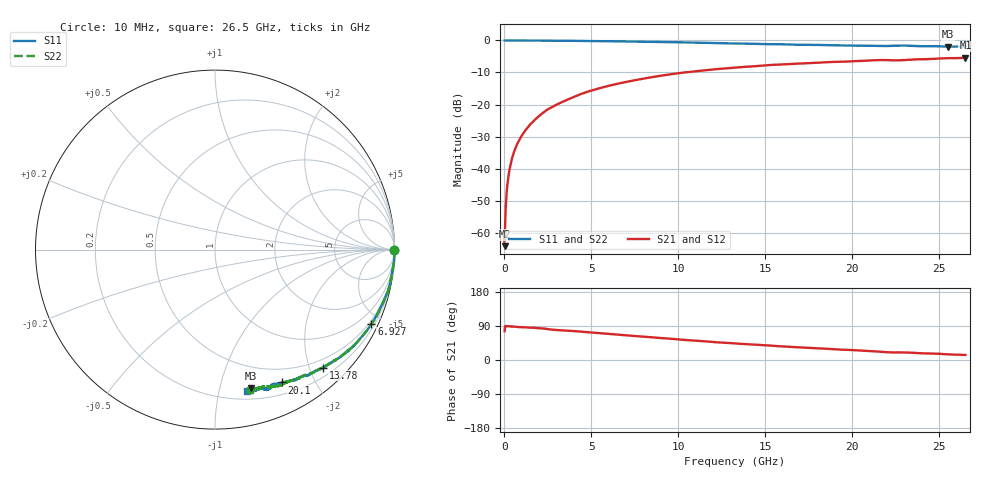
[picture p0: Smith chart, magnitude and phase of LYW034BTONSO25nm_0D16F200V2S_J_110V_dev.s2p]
!Keysight Technologies,N5222B,MY61253708,A.15.00.15
!Date: Wednesday, June 19, 2024 09:43:31
!Correction: S11(C  2-Port  )
!S21(C  2-Port  )
!S12(C  2-Port  )
!S22(C  2-Port  )
!S2P File: Measurements: S11, S21, S12, S22:
# Hz S  RI  R 50
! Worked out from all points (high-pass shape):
!   2651 points, 10 MHz to 26.5 GHz, reference 50 ohm
!   highest |S21| = -5.38 dB at 26.5 GHz (marker M1); lowest = -64.2 dB at 20 MHz (marker M2)
!   |S21| within 3 dB of the highest: 13.45 GHz to end of sweep
!   lowest |S11| = -2.0 dB at 25.5 GHz (marker M3), VSWR 8.84, Z = 14.8 - j62.4 ohm
!   |S11| at or under -10 dB: nowhere
!   |S22| runs from -1.9 to 0.0 dB; largest |S21 - S12| = 0.0065
!   S11 on the Smith chart (normalised r, x): 10 MHz: open; 6.927 GHz: 0.36, -4.39; 13.78 GHz: 0.35, -2.23; 20.1 GHz: 0.33, -1.57; 26.5 GHz: 0.27, -1.22
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1e7  0.9987 -0.00276  0.000197 0.000792  2.45e-05 0.000198  0.9987 -0.00129
1.999623e7  0.9988 -0.00298  9.39e-05 0.000606  9.46e-05 0.000703  0.9991 -0.00326
1.499472e8  1 -0.0109  4.31e-05 0.00495  2.86e-05 0.00501  0.9995 -0.0101
1.899321e8  1 -0.0129  9.38e-05 0.00626  7.46e-05 0.00633  0.9998 -0.012
2.499094e8  0.9996 -0.0173  0.000141 0.00827  0.000137 0.00833  0.9994 -0.0163
3.498717e8  0.9996 -0.0239  0.000307 0.0115  0.000264 0.0117  0.9995 -0.0229
4.798226e8  0.9988 -0.0328  0.000493 0.0158  0.000475 0.016  0.9984 -0.0314
6.29766e8  0.9988 -0.0423  0.000886 0.0208  0.000915 0.0209  0.9986 -0.0411
8.196943e8  0.998 -0.055  0.00145 0.0269  0.00142 0.0271  0.9977 -0.0535
1.449457e9  0.9907 -0.0978  0.00349 0.0478  0.00356 0.0481  0.993 -0.0936
2.329125e9  0.9819 -0.1519  0.00995 0.0776  0.0102 0.0782  0.9832 -0.1516
3.208792e9  0.9705 -0.208  0.0211 0.104  0.0214 0.1046  0.9711 -0.2061
4.428332e9  0.9423 -0.2811  0.0384 0.1415  0.0389 0.1425  0.9446 -0.2771
6.927389e9  0.8711 -0.4153  0.0937 0.2022  0.0952 0.2031  0.8734 -0.4128
8.846664e9  0.8022 -0.5029  0.145 0.2367  0.1467 0.2374  0.8053 -0.4996
1.3255e10  0.6257 -0.6427  0.2724 0.261  0.2749 0.2606  0.6321 -0.6398
1.37848e10  0.6036 -0.6575  0.2872 0.2592  0.289 0.2589  0.6107 -0.6517
1.767333e10  0.4534 -0.7217  0.3787 0.2331  0.3822 0.2313  0.467 -0.7183
2.010242e10  0.3726 -0.7404  0.4263 0.2068  0.4286 0.2047  0.3904 -0.7391
2.209166e10  0.3178 -0.754  0.4615 0.171  0.4633 0.1678  0.3155 -0.7601
2.550038e10  0.1992 -0.7715  0.5105 0.1344  0.512 0.1337  0.223 -0.7749
2.65e10  0.18 -0.7854  0.5239 0.1231  0.5235 0.1191  0.1965 -0.7846
